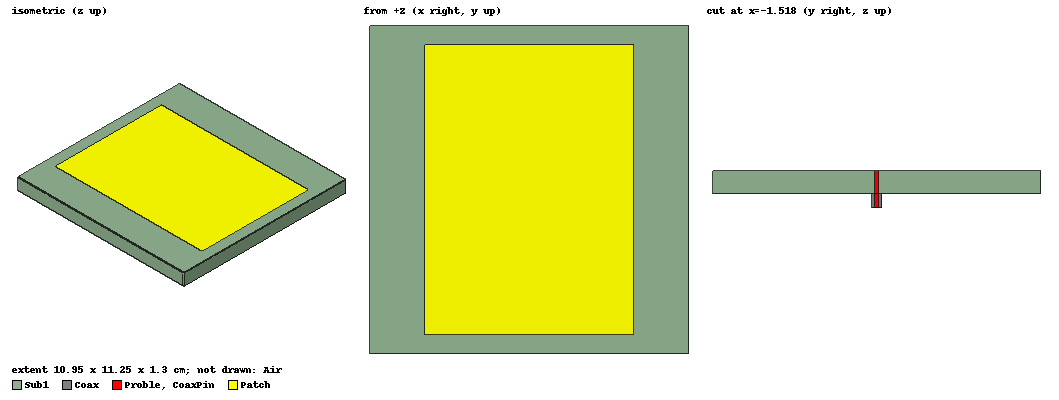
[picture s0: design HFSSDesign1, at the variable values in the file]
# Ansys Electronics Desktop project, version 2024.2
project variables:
  $Patch_Length = 0.07199931meter
  $Patch_Width = 0.099503984meter
  $Substrate_Length = 0.109494912meter
  $Substrate_Width = 0.11246602meter
  $Substrate_Thickness = 0.008meter
  $Air_Height = 0.08meter
  $X_Offset = 0.020815069meter
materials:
  vacuum: permittivity=1
  Rogers RT/duroid 5880 (tm): permittivity=2.2 dielectric_loss_tangent=0.0009
  polyethylene: permittivity=2.25 dielectric_loss_tangent=0.001
  pec: conductivity=1e+30
  air: permittivity=1.0006 permeability=1.0000004
  Rogers TMM 4 (tm): permittivity=4.5 dielectric_loss_tangent=0.002

design HFSSDesign1 (HFSS, HFSS Terminal Network, model units cm)
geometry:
  Sub1 [Rogers TMM 4 (tm)] = box(corner=(-($Substrate_Length/2), -($Substrate_Width/2), 0cm), size=($Substrate_Length, $Substrate_Width, $Substrate_Thickness))
  Inf_GND [Rogers RT/duroid 5880 (tm)] = object_from(Sub1.face(-z))
  Cutout = circle(normal=Z, centre=(-($Patch_Length/2-$X_Offset), 0cm, 0cm), radius=0.16cm)
  Inf_GND.subtract(Cutout)
  Patch = rectangle(corner=(-($Patch_Length/2), -($Patch_Width/2), $Substrate_Thickness), x_size=$Patch_Length, y_size=$Patch_Width)
  Coax [polyethylene] = cylinder(axis=Z, base_centre=(-($Patch_Length/2-$X_Offset), 0cm, 0cm), radius=0.16cm, height=-0.5cm)
  CoaxPin [pec] = cylinder(axis=Z, base_centre=(-($Patch_Length/2-$X_Offset), 0cm, 0cm), radius=0.07cm, height=-0.5cm)
  Proble [pec] = cylinder(axis=Z, base_centre=(-($Patch_Length/2-$X_Offset), 0cm, 0cm), radius=0.07cm, height=$Substrate_Thickness)
  Air [air] = box(corner=(-0.075, -0.075, 0cm), size=(0.15, 0.15, $Air_Height))
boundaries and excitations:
  PerfE1: Perfect E Objects=Inf_GND
  PerfE_Patch: Perfect E Objects=Patch
  Rad1: Radiation Faces=Air.face(+z, -y, -x, +y, +x)
  CoaxPin_T1: Terminal port=P1 Faces=CoaxPin.face(-z end) TerminalResistance=50ohm
  P1: Wave Port Faces=Coax.face(-z end) WavePortType=Terminal NumModes=1
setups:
  Setup2: HfssDriven Frequency=915MHz MaxDeltaS=0.002 MaximumPasses=20 MinimumPasses=1 MinimumConvergedPasses=1 PercentRefinement=30 BasisOrder=1 PortAccuracy=2 DrivenSolverType="Direct Solver" VariablesForDerivatives($Patch_Length, $Patch_Width, $Substrate_Length, $Substrate_Thickness, $Substrate_Width, $X_Offset) VariableFlagsForDerivatives(1, 1, 1, 1, 1, 1)
    sweep Sweep: 457.5MHz to 1372.5MHz, 401 points; Type=Interpolating InterpTolerance=0.5 InterpMaxSolns=250 PassivityErrorTolerance=0.0001
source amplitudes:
  P1:1: 1 0deg
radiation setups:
  ff_2d: Infinite Sphere Theta=-180deg..180deg step 2deg Phi=-180deg..180deg step 2deg
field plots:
  Volume_Loss_Density1, Volume_Loss_Density2: Volume Loss Density in Sub1 on Setup2 : LastAdaptive at Freq=0.915GHz Phase=0deg
  Surface_Loss_Density1: Surface Loss Density over Patch.face on Setup2 : LastAdaptive at Freq=0.915GHz Phase=0deg
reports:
  Terminal S Parameter Plot 1: dB(St(CoaxPin_T1,CoaxPin_T1)) vs Freq on Setup2 : Sweep; markers MX1 at x=9.15e+08
  Tune Terminal S Parameter Plot 1: dB(TuneSt(CoaxPin_T1,CoaxPin_T1,All)) vs Freq on Setup2 : Sweep; markers MX1 at x=9.15e+08, MY1 at y=-10
  Terminal Z Parameter Chart 1: Zt(CoaxPin_T1,CoaxPin_T1) on Setup2 : Sweep [Freq=all $Patch_Length=all $Patch_Width=all $X_Offset=all]
  Gain Plot 1: GainTotal vs Phi, Theta on Setup2 : LastAdaptive, ff_2d [Freq=0.915GHz $Patch_Length=0.0708649meter $Patch_Width=0.0964262meter $X_Offset=0.0202816meter]
  Realized Gain Plot 1: RealizedGainTotal vs Phi, Theta on Setup2 : LastAdaptive, ff_2d [Freq=0.915GHz $Patch_Length=0.0708649meter $Patch_Width=0.0964262meter $X_Offset=0.0202816meter]
  Directivity Plot 1: DirTotal vs Phi, Theta on Setup2 : LastAdaptive, ff_2d [Freq=0.915GHz $Patch_Length=0.0708649meter $Patch_Width=0.0964262meter $X_Offset=0.0202816meter]
  Gain Plot 2: dB(GainTotal) vs Phi, Theta on Setup2 : LastAdaptive, ff_2d [Freq=0.915GHz $Patch_Length=0.0708649meter $Patch_Width=0.0964262meter $X_Offset=0.0202816meter]
